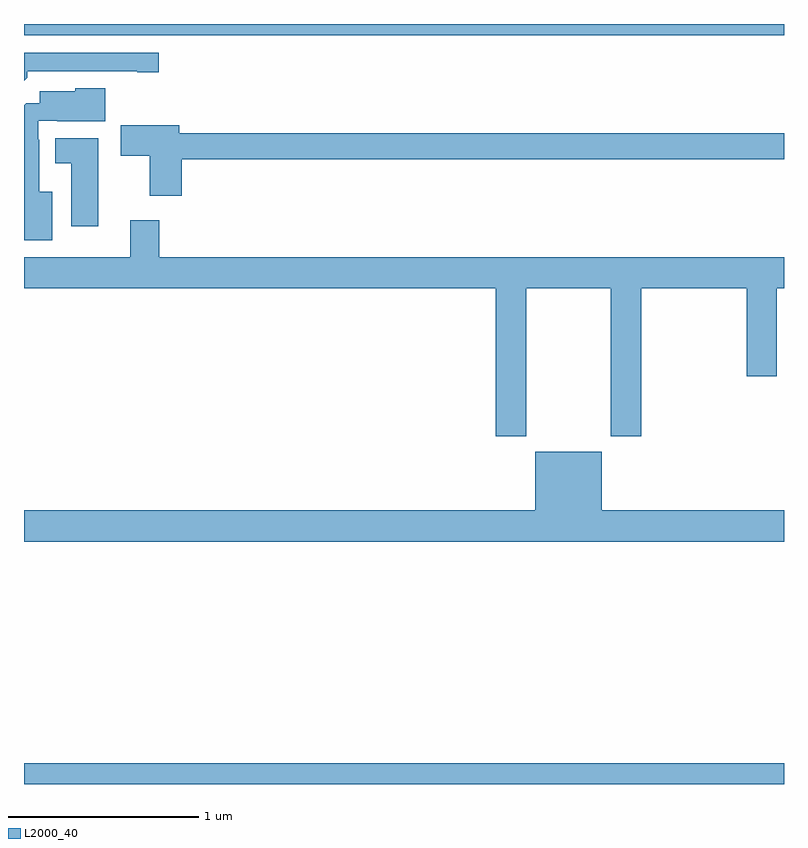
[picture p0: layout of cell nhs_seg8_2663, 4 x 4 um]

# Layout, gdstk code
import gdstk
lib = gdstk.Library(unit=1e-6, precision=1e-09)
def R(c, l, rs):  # rectangles x0, y0, x1, y1
    for r in rs: c.add(gdstk.rectangle(r[:2], r[2:], *l))
def P(c, l, *ps):  # polygons
    for p in ps: c.add(gdstk.Polygon(p, *l))
L2000_40 = (2000, 40)

nhs_seg8_2663 = lib.new_cell('nhs_seg8_2663')
R(nhs_seg8_2663, L2000_40, [(279,1105.9,283,1106.008), (279,1109.84,283,1109.9)])
P(nhs_seg8_2663, L2000_40, [(279.017,1109.618),(279.017,1109.652),(279.596,1109.652),(279.596,1109.647),(279.709,1109.647),(279.709,1109.748),(279,1109.748),(279,1109.601)],
  [(279.148,1109.017),(279.079,1109.017),(279.079,1109.291),(279.075,1109.291),(279.075,1109.391),(279.175,1109.391),(279.175,1109.387),(279.427,1109.387),(279.427,1109.563),(279.27,1109.563),(279.27,1109.545),(279.083,1109.545),(279.083,1109.484),(279.012,1109.484),(279,1109.472),(279,1108.763),(279.148,1108.763)],
  [(279.83,1109.188),(283,1109.188),(283,1109.324),(279.817,1109.324),(279.817,1109.368),(279.51,1109.368),(279.51,1109.206),(279.662,1109.206),(279.662,1108.995),(279.83,1108.995)],
  [(279.391,1109.299),(279.164,1109.299),(279.164,1109.168),(279.248,1109.168),(279.248,1108.836),(279.391,1108.836)],
  [(281.643,1108.508),(282.088,1108.508),(282.088,1107.729),(282.248,1107.729),(282.248,1108.508),(282.803,1108.508),(282.803,1108.047),(282.963,1108.047),(282.963,1108.508),(283,1108.508),(283,1108.672),(279.713,1108.672),(279.713,1108.867),(279.56,1108.867),(279.56,1108.672),(279,1108.672),(279,1108.508),(281.483,1108.508),(281.483,1107.729),(281.643,1107.729)],
  [(283,1107.34),(282.04,1107.34),(282.04,1107.649),(281.69,1107.649),(281.69,1107.34),(279,1107.34),(279,1107.176),(283,1107.176)])

lib.write_gds('nhs_seg8_2663.gds')
